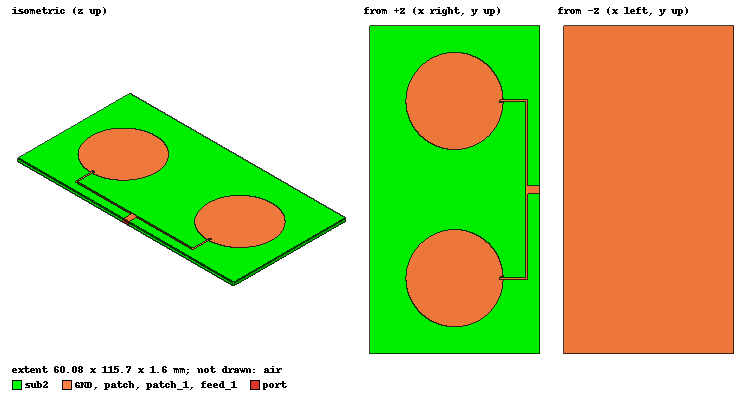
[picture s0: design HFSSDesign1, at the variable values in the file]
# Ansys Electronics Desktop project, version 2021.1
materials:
  vacuum: permittivity=1
  FR4_epoxy: permittivity=4.4 dielectric_loss_tangent=0.02
  air: permittivity=1.0006 permeability=1.0000004

design HFSSDesign1 (HFSS, DrivenModal, model units mm)
options: Save_Adaptive_support_files
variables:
  wsub = 60.076891mm  # optimise 30mm..90mm
  lsub = 115.7mm
  hs = 1.6mm
  sd1 = 62.5mm
  r1 = 17.130069mm  # optimise 8.5mm..25.5mm
  w_s = 1.1mm
  l_s = 1.4mm
  w_f = 0.7mm
  w_50 = 3mm
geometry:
  sub2 [FR4_epoxy] = box(corner=(-wsub/2, -lsub/2, 0mm), size=(wsub, lsub, hs))
  GND = rectangle(corner=(-wsub/2, -lsub/2, 0mm), x_size=wsub, y_size=lsub)
  patch = circle(normal=Z, centre=(0mm, -sd1/2, hs), radius=r1)
  Rectangle1 = rectangle(corner=(r1, -sd1/2-w_s/2, hs), x_size=-l_s, y_size=w_s)
  patch.subtract(Rectangle1)
  feed = rectangle(corner=(r1-l_s, -sd1/2-w_f/2, hs), x_size=10mm, y_size=w_f)
  feed_1 = rectangle(corner=(r1-l_s+10mm, -sd1/2+w_f/2, hs), x_size=-w_f, y_size=sd1/2-w_f/2)
  Rectangle4 = rectangle(corner=(wsub/2, -w_50/2, hs), x_size=-4.4mm, y_size=w_50)
  port = rectangle(corner=(wsub/2, -w_50/2, hs), y_size=w_50, z_size=-hs)
  air [air] = box(corner=(-wsub/2-32mm, -lsub/2-32mm, -20mm), size=(wsub+64mm, lsub+64mm, hs+64mm))
  patch_1 = circle(normal=Z, centre=(0mm, sd1/2, hs), radius=r1)
  Rectangle5 = rectangle(corner=(r1, sd1/2-w_s/2, hs), x_size=-l_s, y_size=w_s)
  patch_1.subtract(Rectangle5)
  Rectangle6 = rectangle(corner=(r1-l_s, sd1/2-w_f/2, hs), x_size=10mm, y_size=w_f)
  Rectangle7 = rectangle(corner=(r1-l_s+10mm, sd1/2-w_f/2, hs), x_size=-w_f, y_size=-sd1/2+w_f/2)
  feed_1.unite(feed, Rectangle4, Rectangle6, Rectangle7)
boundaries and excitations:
  PerfE1: Perfect E Objects=GND
  PerfE2: Perfect E Objects=[feed_1, patch, patch_1]
  Rad1: Radiation Objects=air
  1: Lumped Port Objects=port Modes{Mode1{IntLine{middle of port.edge(z opposite corner) -> middle of port.edge(z at corner)} CharImp=Zpi RenormImp=50ohm}} Impedance=50ohm
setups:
  Setup1: HfssDriven Frequency=2.4GHz MaxDeltaS=0.02 MaximumPasses=16 MinimumPasses=1 MinimumConvergedPasses=1 PercentRefinement=30 BasisOrder=1 PortAccuracy=2
    sweep Sweep: 1.5GHz to 3GHz, 51 points; Type=Discrete SaveFields SaveRadFields
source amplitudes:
  1:1: 1W 0deg
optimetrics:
  OptimizationSetup1: Optimization Optimizer="Quasi Newton" AnalysisStopOptions{StopForNumIteration MaxNumIteration=1000 MinNumIteration=10} CostFuncNormType=L2 Acceptable_Cost=0 Noise=0.0001 UpdateDesignWhenDone
    vary r1: Min=8.5mm Max=25.5mm MinStep=0.17mm MaxStep=1.7mm MinFocus=8.5mm MaxFocus=25.5mm start=17.086861mm
    goal dB(S(1,1)) <= -13 weight 1 on Setup1 : Sweep at Freq 2.398GHz to 2.402GHz
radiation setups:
  Infinite Sphere1: Infinite Sphere Theta=-180deg..180deg step 2deg Phi=0deg..360deg step 2deg
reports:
  S Parameter Plot 1: dB(S(1,1)) vs Freq on Setup1 : Sweep; markers m1 at 2.4GHz
  Gain Plot 1: dB(GainPhi), dB(GainTheta) vs Theta on Setup1 : LastAdaptive, Infinite Sphere1 [Phi=0deg,90deg Freq=2.4GHz]
  Realized Gain Plot 2: dB(RealizedGainPhi), dB(RealizedGainTheta) vs Theta on Setup1 : LastAdaptive, Infinite Sphere1 [Phi=0deg,90deg Freq=2.4GHz]
  Gain Plot 2: dB(GainTotal) vs Freq on Setup1 : Sweep, Infinite Sphere1 [Phi=0deg Theta=0deg]; dB(RealizedGainTotal) vs Freq; markers m1 at 2.4GHz, m2 at 2.4GHz
